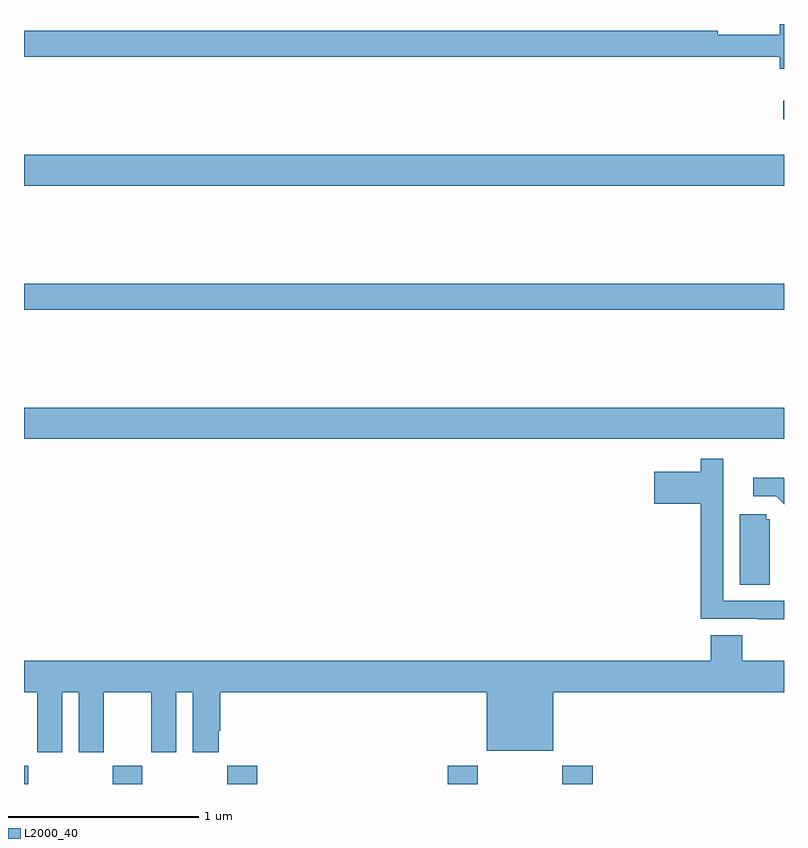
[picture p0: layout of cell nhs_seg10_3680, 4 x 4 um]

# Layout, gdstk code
import gdstk
lib = gdstk.Library(unit=1e-6, precision=1e-09)
def R(c, l, rs):  # rectangles x0, y0, x1, y1
    for r in rs: c.add(gdstk.rectangle(r[:2], r[2:], *l))
def P(c, l, *ps):  # polygons
    for p in ps: c.add(gdstk.Polygon(p, *l))
L2000_40 = (2000, 40)

nhs_seg10_3680 = lib.new_cell('nhs_seg10_3680')
R(nhs_seg10_3680, L2000_40, [(311,1298.5,311.022,1298.596), (311.467,1298.5,311.622,1298.596), (312.071,1298.5,312.227,1298.596), (313.229,1298.5,313.389,1298.596), (313.834,1298.5,313.994,1298.596), (311,1300.316,315,1300.48), (311,1300.996,315,1301.132), (311,1301.648,315,1301.812), (314.997,1302,315,1302.096)])
P(nhs_seg10_3680, L2000_40, [(315,1302.5),(314.978,1302.5),(314.978,1302.444),(314.651,1302.444),(314.651,1302.464),(311,1302.464),(311,1302.328),(314.978,1302.328),(314.978,1302.264),(315,1302.264)],
  [(315,1299.465),(314.679,1299.465),(314.679,1299.99),(314.68,1299.99),(314.68,1300.213),(314.563,1300.213),(314.563,1300.144),(314.316,1300.144),(314.316,1299.974),(314.563,1299.974),(314.563,1299.369),(314.863,1299.369),(314.863,1299.367),(315,1299.367)],
  [(315,1300.11),(314.999,1300.111),(314.838,1300.111),(314.838,1300.014),(314.958,1300.014),(315,1299.972)],
  [(314.926,1299.894),(314.907,1299.894),(314.907,1299.921),(314.768,1299.921),(314.768,1299.55),(314.926,1299.55)],
  [(311.2,1298.984),(311.288,1298.984),(311.288,1298.667),(311.419,1298.667),(311.419,1298.984),(311.669,1298.984),(311.669,1298.667),(311.8,1298.667),(311.8,1298.984),(311.888,1298.984),(311.888,1298.667),(312.025,1298.667),(312.025,1298.779),(312.032,1298.779),(312.032,1298.984),(313.436,1298.984),(313.436,1298.675),(313.786,1298.675),(313.786,1298.984),(315,1298.984),(315,1299.148),(314.78,1299.148),(314.78,1299.284),(314.615,1299.284),(314.615,1299.148),(311,1299.148),(311,1298.984),(311.069,1298.984),(311.069,1298.667),(311.2,1298.667)])

lib.write_gds('nhs_seg10_3680.gds')
